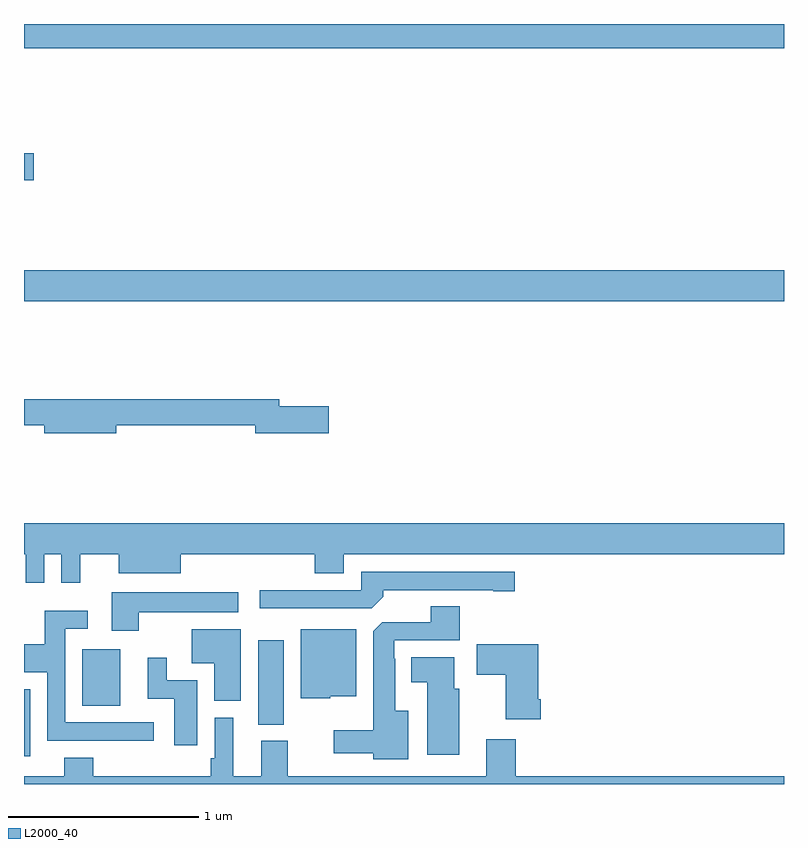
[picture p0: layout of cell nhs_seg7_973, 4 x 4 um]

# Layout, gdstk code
import gdstk
lib = gdstk.Library(unit=1e-6, precision=1e-09)
def R(c, l, rs):  # rectangles x0, y0, x1, y1
    for r in rs: c.add(gdstk.rectangle(r[:2], r[2:], *l))
def P(c, l, *ps):  # polygons
    for p in ps: c.add(gdstk.Polygon(p, *l))
L2000_40 = (2000, 40)

nhs_seg7_973 = lib.new_cell('nhs_seg7_973')
R(nhs_seg7_973, L2000_40, [(181,1074.147,181.033,1074.499), (182.234,1074.313,182.368,1074.757), (181.307,1074.413,181.507,1074.709), (181,1076.54,185,1076.704), (181,1077.178,181.051,1077.32), (181,1077.872,185,1078)])
P(nhs_seg7_973, L2000_40, [(181.486,1075.888),(182.216,1075.888),(182.216,1075.846),(182.605,1075.846),(182.605,1075.988),(182.344,1075.988),(182.344,1076.024),(181,1076.024),(181,1075.888),(181.106,1075.888),(181.106,1075.846),(181.486,1075.846)],
  [(181.107,1075.208),(181.197,1075.208),(181.197,1075.059),(181.295,1075.059),(181.295,1075.208),(181.499,1075.208),(181.499,1075.109),(181.825,1075.109),(181.825,1075.208),(182.531,1075.208),(182.531,1075.109),(182.683,1075.109),(182.683,1075.208),(185,1075.208),(185,1075.372),(181,1075.372),(181,1075.208),(181.01,1075.208),(181.01,1075.059),(181.107,1075.059)],
  [(182.891,1074.986),(182.891,1075.02),(183.47,1075.02),(183.47,1075.015),(183.583,1075.015),(183.583,1075.116),(182.775,1075.116),(182.775,1075.02),(182.241,1075.02),(182.241,1074.924),(182.829,1074.924)],
  [(181.603,1074.905),(182.128,1074.905),(182.128,1075.009),(181.463,1075.009),(181.463,1074.807),(181.603,1074.807)],
  [(183.022,1074.385),(182.953,1074.385),(182.953,1074.659),(182.949,1074.659),(182.949,1074.756),(183.293,1074.756),(183.293,1074.935),(183.14,1074.935),(183.14,1074.852),(182.886,1074.852),(182.837,1074.803),(182.837,1074.283),(182.631,1074.283),(182.631,1074.161),(182.837,1074.161),(182.837,1074.131),(183.022,1074.131)],
  [(181.684,1074.324),(181.218,1074.324),(181.218,1074.816),(181.336,1074.816),(181.336,1074.913),(181.11,1074.913),(181.11,1074.735),(181,1074.735),(181,1074.587),(181.122,1074.587),(181.122,1074.228),(181.447,1074.228),(181.447,1074.227),(181.684,1074.227)],
  [(182.14,1074.814),(181.883,1074.814),(181.883,1074.635),(182,1074.635),(182,1074.438),(182.14,1074.438)],
  [(182.613,1074.461),(182.749,1074.461),(182.749,1074.814),(182.456,1074.814),(182.456,1074.452),(182.613,1074.452)],
  [(183.719,1074.445),(183.706,1074.445),(183.706,1074.736),(183.384,1074.736),(183.384,1074.574),(183.536,1074.574),(183.536,1074.341),(183.719,1074.341)],
  [(183.292,1074.501),(183.265,1074.501),(183.265,1074.667),(183.038,1074.667),(183.038,1074.536),(183.122,1074.536),(183.122,1074.153),(183.292,1074.153)],
  [(181.912,1074.546),(181.75,1074.546),(181.75,1074.664),(181.652,1074.664),(181.652,1074.45),(181.79,1074.45),(181.79,1074.204),(181.912,1074.204)],
  [(185,1074.04),(183.587,1074.04),(183.587,1074.235),(183.434,1074.235),(183.434,1074.04),(182.389,1074.04),(182.389,1074.228),(182.249,1074.228),(182.249,1074.04),(182.101,1074.04),(182.101,1074.349),(182.004,1074.349),(182.004,1074.136),(181.984,1074.136),(181.984,1074.04),(181.364,1074.04),(181.364,1074.139),(181.211,1074.139),(181.211,1074.04),(181,1074.04),(181,1074),(185,1074)])

lib.write_gds('nhs_seg7_973.gds')
